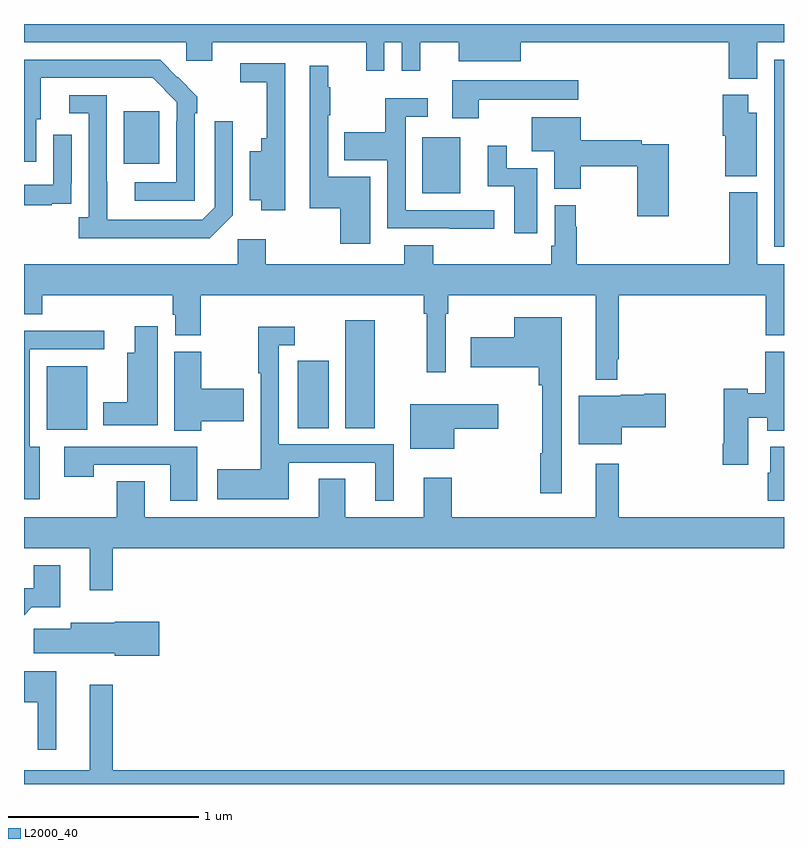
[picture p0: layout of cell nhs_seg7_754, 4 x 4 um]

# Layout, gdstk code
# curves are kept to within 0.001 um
import gdstk
lib = gdstk.Library(unit=1e-6, precision=1e-09)
def R(c, l, rs):  # rectangles x0, y0, x1, y1
    for r in rs: c.add(gdstk.rectangle(r[:2], r[2:], *l))
def P(c, l, *ps):  # polygons
    for p in ps: c.add(gdstk.Polygon(p, *l))
L2000_40 = (2000, 40)

nhs_seg7_754 = lib.new_cell('nhs_seg7_754')
R(nhs_seg7_754, L2000_40, [(167.12,1043.864,167.332,1044.199), (168.44,1043.872,168.604,1044.228), (168.692,1043.872,168.847,1044.442), (170.949,1044.828,171,1045.812), (169.097,1045.109,169.297,1045.405), (167.525,1045.265,167.713,1045.54)])
P(nhs_seg7_754, L2000_40, [(170.86,1045.904),(171,1045.904),(171,1046),(167,1046),(167,1045.904),(167.853,1045.904),(167.853,1045.806),(167.992,1045.806),(167.992,1045.904),(168.8,1045.904),(168.8,1045.755),(168.897,1045.755),(168.897,1045.904),(168.987,1045.904),(168.987,1045.755),(169.085,1045.755),(169.085,1045.904),(169.289,1045.904),(169.289,1045.805),(169.615,1045.805),(169.615,1045.904),(170.708,1045.904),(170.708,1045.712),(170.86,1045.712)],
  [(167.898,1045.529),(167.913,1045.529),(167.913,1045.617),(167.716,1045.812),(167,1045.812),(167,1045.275),(167.065,1045.275),(167.065,1045.5),(167.089,1045.5),(167.089,1045.716),(167.677,1045.716),(167.805,1045.587),(167.805,1045.487),(167.802,1045.487),(167.802,1045.167),(167.583,1045.167),(167.583,1045.071),(167.898,1045.071)],
  [(168.376,1045.295),(168.375,1045.295),(168.375,1045.794),(168.138,1045.794),(168.138,1045.693),(168.278,1045.693),(168.278,1045.399),(168.248,1045.399),(168.248,1045.33),(168.188,1045.33),(168.188,1045.073),(168.248,1045.073),(168.248,1045.019),(168.376,1045.019)],
  [(168.823,1045.195),(168.6,1045.195),(168.6,1045.519),(168.613,1045.519),(168.613,1045.667),(168.602,1045.667),(168.602,1045.78),(168.504,1045.78),(168.504,1045.03),(168.665,1045.03),(168.665,1044.843),(168.823,1044.843)],
  [(169.393,1045.601),(169.918,1045.601),(169.918,1045.705),(169.253,1045.705),(169.253,1045.503),(169.393,1045.503)],
  [(170.857,1045.534),(170.812,1045.534),(170.812,1045.627),(170.678,1045.627),(170.678,1045.413),(170.69,1045.413),(170.69,1045.199),(170.857,1045.199)],
  [(168.099,1044.993),(168.099,1045.489),(168.003,1045.489),(168.003,1045.035),(167.937,1044.969),(167.437,1044.969),(167.436,1045.626),(167.238,1045.626),(167.238,1045.53),(167.34,1045.53),(167.34,1044.982),(167.289,1044.982),(167.289,1044.872),(167.978,1044.872)],
  [(169.474,1045.02),(169.008,1045.02),(169.008,1045.512),(169.126,1045.512),(169.126,1045.609),(168.9,1045.609),(168.9,1045.43),(168.685,1045.43),(168.685,1045.283),(168.912,1045.283),(168.912,1044.924),(169.237,1044.924),(169.237,1044.923),(169.474,1044.923)],
  [(170.394,1045.368),(170.252,1045.368),(170.252,1045.388),(169.93,1045.388),(169.93,1045.51),(169.673,1045.51),(169.673,1045.331),(169.79,1045.331),(169.79,1045.134),(169.93,1045.134),(169.93,1045.252),(170.228,1045.252),(170.228,1044.987),(170.394,1044.987)],
  [(167.147,1045.053),(167.249,1045.053),(167.249,1045.162),(167.25,1045.162),(167.25,1045.417),(167.154,1045.417),(167.154,1045.155),(167,1045.155),(167,1045.047),(167.147,1045.047)],
  [(169.702,1045.242),(169.54,1045.242),(169.54,1045.36),(169.442,1045.36),(169.442,1045.146),(169.58,1045.146),(169.58,1044.9),(169.702,1044.9)],
  [(170.123,1044.235),(170.131,1044.235),(170.131,1044.572),(170.903,1044.572),(170.903,1044.361),(171,1044.361),(171,1044.736),(170.86,1044.736),(170.86,1045.114),(170.713,1045.114),(170.713,1044.736),(169.91,1044.736),(169.91,1044.932),(169.903,1044.932),(169.903,1045.045),(169.794,1045.045),(169.794,1044.832),(169.774,1044.832),(169.774,1044.736),(169.154,1044.736),(169.154,1044.835),(169.001,1044.835),(169.001,1044.736),(168.273,1044.736),(168.273,1044.868),(168.126,1044.868),(168.126,1044.736),(167,1044.736),(167,1044.473),(167.096,1044.473),(167.096,1044.572),(167.783,1044.572),(167.783,1044.471),(167.795,1044.471),(167.795,1044.361),(167.931,1044.361),(167.931,1044.572),(169.105,1044.572),(169.105,1044.476),(169.12,1044.476),(169.12,1044.168),(169.221,1044.168),(169.221,1044.476),(169.234,1044.476),(169.234,1044.572),(170.009,1044.572),(170.009,1044.128),(170.123,1044.128)],
  [(169.831,1044.457),(169.58,1044.457),(169.58,1044.352),(169.35,1044.352),(169.35,1044.194),(169.71,1044.194),(169.71,1044.098),(169.727,1044.098),(169.727,1043.741),(169.717,1043.741),(169.717,1043.529),(169.831,1043.529)],
  [(167.704,1044.409),(167.582,1044.409),(167.582,1044.271),(167.543,1044.271),(167.543,1044.01),(167.417,1044.01),(167.417,1043.888),(167.704,1043.888)],
  [(168.946,1043.787),(168.342,1043.787),(168.342,1044.309),(168.424,1044.309),(168.424,1044.406),(168.234,1044.406),(168.234,1044.163),(168.246,1044.163),(168.246,1043.656),(168.018,1043.656),(168.018,1043.498),(168.394,1043.498),(168.394,1043.691),(168.848,1043.691),(168.848,1043.49),(168.946,1043.49)],
  [(167.083,1043.776),(167.029,1043.776),(167.029,1044.288),(167.422,1044.288),(167.422,1044.386),(167,1044.386),(167,1043.498),(167.083,1043.498)],
  [(170.812,1043.927),(170.912,1043.927),(170.912,1043.86),(171,1043.86),(171,1044.276),(170.9,1044.276),(170.9,1044.057),(170.808,1044.057),(170.808,1044.08),(170.683,1044.08),(170.683,1043.791),(170.678,1043.791),(170.678,1043.679),(170.812,1043.679)],
  [(167.934,1043.909),(168.157,1043.909),(168.157,1044.08),(167.934,1044.08),(167.934,1044.276),(167.792,1044.276),(167.792,1043.86),(167.934,1043.86)],
  [(170.146,1043.878),(170.377,1043.878),(170.377,1044.055),(170.264,1044.055),(170.264,1044.049),(170.142,1044.049),(170.142,1044.043),(169.919,1044.043),(169.919,1043.789),(170.146,1043.789)],
  [(169.264,1043.869),(169.495,1043.869),(169.495,1043.998),(169.034,1043.998),(169.034,1043.765),(169.264,1043.765)],
  [(171,1043.775),(170.927,1043.775),(170.927,1043.637),(170.915,1043.637),(170.915,1043.49),(171,1043.49)],
  [(167.911,1043.775),(167.211,1043.775),(167.211,1043.616),(167.367,1043.616),(167.367,1043.679),(167.771,1043.679),(167.771,1043.49),(167.911,1043.49)],
  [(167.467,1043.24),(171,1043.24),(171,1043.404),(170.131,1043.404),(170.131,1043.686),(170.009,1043.686),(170.009,1043.404),(169.251,1043.404),(169.251,1043.611),(169.103,1043.611),(169.103,1043.404),(168.691,1043.404),(168.691,1043.606),(168.551,1043.606),(168.551,1043.404),(167.635,1043.404),(167.635,1043.594),(167.488,1043.594),(167.488,1043.404),(167,1043.404),(167,1043.24),(167.345,1043.24),(167.345,1043.019),(167.467,1043.019)],
  [(167.042,1042.931),(167.191,1042.931),(167.191,1043.152),(167.051,1043.152),(167.051,1043.029),(167.002,1043.029),(167,1043.027),(167,1042.889)],
  [(167.713,1042.853),(167.478,1042.853),(167.478,1042.849),(167.246,1042.849),(167.246,1042.817),(167.052,1042.817),(167.052,1042.688),(167.478,1042.688),(167.478,1042.676),(167.713,1042.676)],
  [(167.17,1042.594),(167,1042.594),(167,1042.43),(167.072,1042.43),(167.072,1042.179),(167.17,1042.179)],
  [(171,1042.072),(167.467,1042.072),(167.467,1042.522),(167.345,1042.522),(167.345,1042.072),(167,1042.072),(167,1042),(171,1042)])

lib.write_gds('nhs_seg7_754.gds')
